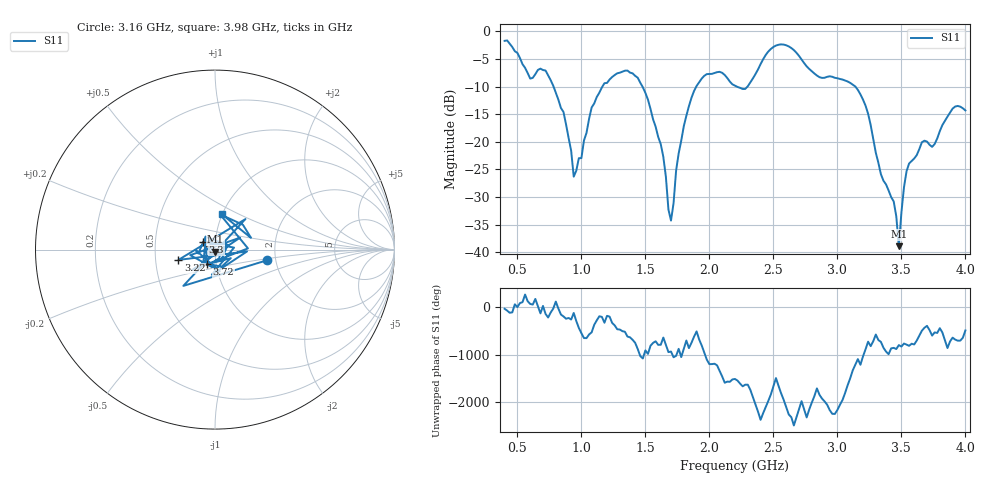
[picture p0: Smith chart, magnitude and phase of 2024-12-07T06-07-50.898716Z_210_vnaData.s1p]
!Created with skrf (http://scikit-rf.org).
# Hz S RI R 50.0
!freq ReS11 ImS11
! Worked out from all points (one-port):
!   181 points, 400 MHz to 4 GHz, reference 50 ohm
!   lowest |S11| = -38.9 dB at 3.48 GHz (marker M1), VSWR 1.02, Z = 50.3 - j1.1 ohm
!   |S11| at or under -10 dB: 782.2 MHz to 1.164 GHz (382.1 MHz wide, 39.3 % of centre); 1.477 GHz to 1.898 GHz (420.9 MHz wide, 24.9 % of centre); 3.14 GHz to end of sweep (the widest 3 of 4)
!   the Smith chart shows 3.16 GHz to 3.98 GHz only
!   S11 on the Smith chart (normalised r, x): 3.16 GHz: 1.79, -0.24; 3.22 GHz: 0.66, -0.08; 3.3 GHz: 0.87, +0.07; 3.72 GHz: 0.90, -0.15; 3.98 GHz: 1.00, +0.41
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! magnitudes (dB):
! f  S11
! 400 MHz  -1.7
! 600 MHz  -8.6
! 720 MHz  -7.1
! 860 MHz  -14.6
! 940 MHz  -26.3
! 1.08 GHz  -13.8
! 1.3 GHz  -7.5
! 1.52 GHz  -12.4
! 1.64 GHz  -22.7
! 1.7 GHz  -34.3
! 1.76 GHz  -22.1
! 1.86 GHz  -12.0
! 1.94 GHz  -8.6
! 2.2 GHz  -9.8
! 2.28 GHz  -10.4
! 2.5 GHz  -2.8
! 2.66 GHz  -3.4
! 3.1 GHz  -9.3
! 3.16 GHz  -10.6
! 3.22 GHz  -13.5
! 3.3 GHz  -22.0
! 3.44 GHz  -30.8
! 3.48 GHz  -38.9
! 3.52 GHz  -28.3
! 3.56 GHz  -24.0
! 3.72 GHz  -20.6
! 3.98 GHz  -13.9
! 4 GHz  -14.3
